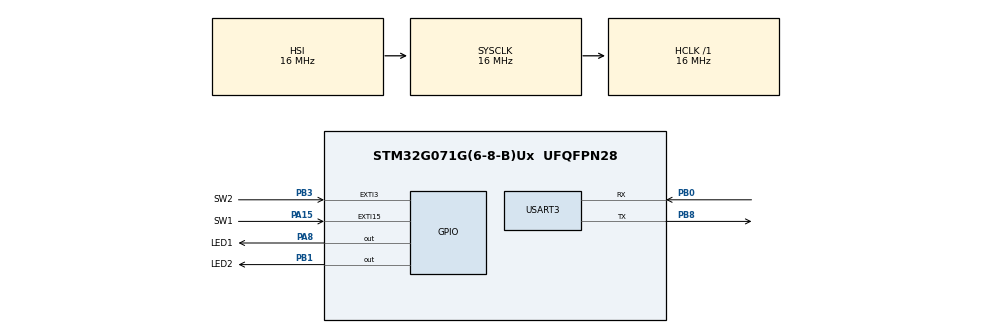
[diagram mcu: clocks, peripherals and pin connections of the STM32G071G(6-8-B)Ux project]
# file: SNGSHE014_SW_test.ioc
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Mcu.Family=STM32G0
Mcu.Name=STM32G071G(6-8-B)Ux
Mcu.Package=UFQFPN28
NVIC.EXTI2_3_IRQn=true\:1\:0\:true\:false\:true\:true\:true
NVIC.EXTI4_15_IRQn=true\:1\:0\:true\:false\:true\:true\:true
NVIC.TIM14_IRQn=true\:0\:0\:false\:false\:true\:true\:true
PA13.Mode=Serial_Wire
PA13.Signal=SYS_SWDIO
PA14-BOOT0.Mode=Serial_Wire
PA14-BOOT0.Signal=SYS_SWCLK
PA15.GPIO_Label=SW1
PA15.GPIO_ModeDefaultEXTI=GPIO_MODE_IT_RISING_FALLING
PA15.GPIO_PuPd=GPIO_PULLUP
PA15.Signal=GPXTI15
PA4.Mode=SYS_WakeUp1
PA4.Signal=SYS_WKUP2
PA8.GPIO_Label=LED1
PA8.GPIO_PuPd=GPIO_PULLUP
PA8.PinState=GPIO_PIN_RESET
PA8.Signal=GPIO_Output
PB0.Mode=Asynchronous
PB0.Signal=USART3_RX
PB1.GPIO_Label=LED2
PB1.GPIO_PuPd=GPIO_PULLUP
PB1.Signal=GPIO_Output
PB3.GPIO_Label=SW2
PB3.GPIO_ModeDefaultEXTI=GPIO_MODE_IT_RISING_FALLING
PB3.GPIO_PuPd=GPIO_PULLUP
PB3.Signal=GPXTI3
PB8.Mode=Asynchronous
PB8.Signal=USART3_TX
PC14-OSC32_IN\ (PC14).Mode=LSE-External-Oscillator
PC14-OSC32_IN\ (PC14).Signal=RCC_OSC32_IN
PC15-OSC32_OUT\ (PC15).Mode=LSE-External-Oscillator
PC15-OSC32_OUT\ (PC15).Signal=RCC_OSC32_OUT
ProjectManager.HeapSize=0x200
ProjectManager.StackSize=0x400
ProjectManager.TargetToolchain=STM32CubeIDE
RCC.AHBFreq_Value=16000000
RCC.CortexFreq_Value=16000000
RCC.EXTERNAL_CLOCK_VALUE=48000
RCC.HCLKFreq_Value=16000000
RCC.HSE_VALUE=8000000
RCC.HSI_VALUE=16000000
RCC.SYSCLKFreq_VALUE=16000000
RCC.VCOOutputFreq_Value=128000000
TIM14.Period=65535-1
TIM14.Prescaler=16000-1
USART3.VirtualMode-Asynchronous=VM_ASYNC
VP_SYS_VS_DBSignals.Mode=DisableDeadBatterySignals
VP_TIM14_VS_ClockSourceINT.Mode=Enable_Timer
board=custom

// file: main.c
/* USER CODE BEGIN Header */
/**
  ******************************************************************************
  * @file           : main.c
  * @brief          : Main program body
  ******************************************************************************
  * @attention
  *
  * <h2><center>&copy; Copyright (c) 2020 STMicroelectronics.
  * All rights reserved.</center></h2>
  *
  * This software component is licensed by ST under BSD 3-Clause license,
  * the "License"; You may not use this file except in compliance with the
  * License. You may obtain a copy of the License at:
  *                        opensource.org/licenses/BSD-3-Clause
  *
  ******************************************************************************
  */
/* USER CODE END Header */
#include "main.h"

/* USER CODE BEGIN Includes */
#include <stdio.h>
#include <string.h>
/* USER CODE END Includes */

TIM_HandleTypeDef htim14;

UART_HandleTypeDef huart3;

void SystemClock_Config(void);
static void MX_GPIO_Init(void);
static void MX_TIM14_Init(void);
static void MX_USART3_UART_Init(void);

int main(void)
{
  /* USER CODE BEGIN 1 */
	int time_en;							//timer enable check
	int sensor_en;							//sensor enable check
	int sw1_pin_cnt;							//pin count sw1
	int sw2_pin_cnt;							//pin count sw2
	uint8_t buf[20];
	char uart_buf[50];						//uart buffer
	int uart_buf_len;
	uint16_t timer_val;						//timer variable

  /* USER CODE END 1 */

  /* MCU Configuration--------------------------------------------------------*/

  /* Reset of all peripherals, Initializes the Flash interface and the Systick. */
  HAL_Init();

  /* Configure the system clock */
  SystemClock_Config();

  /* Initialize all configured peripherals */
  MX_GPIO_Init();
  MX_TIM14_Init();
  MX_USART3_UART_Init();
  /* USER CODE BEGIN 2 */
  //Timer start when button pressed
  void TimerStart(void)
  {
  	time_en = 1;
  	HAL_TIM_Base_Start(&htim14);						//start timer
  	timer_val = __HAL_TIM_GET_COUNTER(&htim14);			//init Timer compare value
  }

  //Blink LED1 if test works
  void LED1blink(void)
  {
  	HAL_GPIO_WritePin(GPIOA, GPIO_PIN_8, GPIO_PIN_SET);			//LED1 ON
  	HAL_Delay(1000);											//1s delay
  	HAL_GPIO_WritePin(GPIOA, GPIO_PIN_8, GPIO_PIN_RESET);		//LED1 OFF
  	HAL_TIM_Base_Stop(&htim14);									//Stop timer
  	time_en = 0;
  }
  void LED2blink(void)
{
	HAL_GPIO_WritePin(GPIOB, GPIO_PIN_1, GPIO_PIN_SET);			//LED2 ON
	HAL_Delay(1000);											//1s delay
	HAL_GPIO_WritePin(GPIOB, GPIO_PIN_1, GPIO_PIN_RESET);		//LED2 OFF
}
  //sleep function
  void gotoSleep(void)
  {
  	//enable the PWR clock control (177 ref)
  	RCC->APBENR1 |= (RCC_APBENR1_PWREN);

  	//Setting SLEEPDEEP (88,93 PM)
  	SCB->SCR |= SCB_SCR_SLEEPDEEP_Msk;

  	//Low power mode selection (123 ,126 ref)
  	PWR->CR1 |= PWR_CR1_LPMS;			//Is this correct?

  	//Clear WUFx bits (131 ref)
  	PWR->SR1 |= 0x00000000;				//Am I doing this right?

  	//Enable WKUPx reg (129 ref)
  	PWR->CR3 |= 0X0000003B;				//Set bit [5:3]&[1:0]

  	//WFI enable
  	__WFI();
  }
  /* USER CODE END 2 */

  /* Infinite loop */
  /* USER CODE BEGIN WHILE */
//  if(((HAL_GPIO_ReadPin(GPIOA, GPIO_PIN_15))&(HAL_GPIO_ReadPin(GPIOB, GPIO_PIN_3))) == GPIO_PIN_RESET)
//  {
//	  uart_buf_len = sprintf(uart_buf, "Awake.\r\n");
//	  HAL_UART_Transmit(&huart3, (uint8_t *)uart_buf, uart_buf_len, 10000);		//UART write
//	  TimerStart();													//Start Timer
//	  sw1_pin_cnt = 0;
//	  sw2_pin_cnt = 0;
//	  sensor_en = 0;
//	  HAL_Delay(1000);
//
//	  LED1blink();;
//	  //Sleep
//	  strcpy((char*)buf, "Sleep.\r\n");
//	  HAL_UART_Transmit(&huart3, buf, strlen((char*)buf), HAL_MAX_DELAY);
//	  HAL_Delay(1000);
//
//	  gotoSleep();
//
//	  strcpy((char*)buf, "Fail.\r\n");
//	  HAL_UART_Transmit(&huart3, buf, strlen((char*)buf), HAL_MAX_DELAY);
//	  HAL_Delay(1000);
//  }

  if((PWR->SCR)&(PWR_SCR_CSBF))			//Check if standby flag is enabled
  {
	  //clear PWR WUF
	  PWR->SR1 |= 0X0000003B;				//Set bit [5:3]&[1:0]
	  //Set standby flag
	  PWR->SCR |= PWR_SCR_CSBF;
  }
  else
  {
	uart_buf_len = sprintf(uart_buf, "Device Ready.\r\n");
	HAL_UART_Transmit(&huart3, (uint8_t *)uart_buf, uart_buf_len, 1000);
  }

  while (1)
  {
	  //*________________________________________DEVICE WAKE UP_________________________________________________________
	  	  if(((HAL_GPIO_ReadPin(GPIOA, GPIO_PIN_15))&(HAL_GPIO_ReadPin(GPIOB, GPIO_PIN_3))) == GPIO_PIN_RESET)
	  		{
	  		  uart_buf_len = sprintf(uart_buf, "Awake.\r\n");
	  		  HAL_UART_Transmit(&huart3, (uint8_t *)uart_buf, uart_buf_len, 10000);		//UART write
	  		  LED2blink();
	  		  TimerStart();													//Start Timer
	  		  sw1_pin_cnt = 0;
	  		  sw2_pin_cnt = 0;
	  		  sensor_en = 0;
	  		  HAL_Delay(1000);

	  		  while ((time_en == 1)&(__HAL_TIM_GET_COUNTER(&htim14) - timer_val <= 10000))
	  		  {
	  			  if((sw1_pin_cnt==0)&(HAL_GPIO_ReadPin(GPIOA, GPIO_PIN_15) == GPIO_PIN_RESET))	//SENSOR MODE**************************************
	  				{
	  				  sw1_pin_cnt++;
	  				  HAL_TIM_Base_Stop(&htim14);						//Stop timer
	  				  LED2blink();
	  				  uart_buf_len = sprintf(uart_buf, "1. SENSOR MODE.\r\n");
	  				  HAL_UART_Transmit(&huart3, (uint8_t *)uart_buf, uart_buf_len, 10000);		//UART write
	  				  TimerStart();										//Start Timer
	  				  HAL_Delay(1000);
	  				}
	  //*________________________________________1. SENSOR MODE_________________________________________________________
	  			  while ((sw1_pin_cnt==1)&(time_en == 1)&(__HAL_TIM_GET_COUNTER(&htim14) - timer_val <= 10000))			//Under 10sec
	  			  {
	  				  if(HAL_GPIO_ReadPin(GPIOA, GPIO_PIN_15) == GPIO_PIN_RESET)
	  				  {
		  				  LED2blink();
	  					  sw1_pin_cnt ++;
	  					  HAL_Delay(1000);
	  					  break;
	  				  }

	  				  // i. Probably toggle between START and STOP and leave out the PAUSE function. (Reduce code and CPU space)

	  				  if((sensor_en==0)&(HAL_GPIO_ReadPin(GPIOB, GPIO_PIN_3) == GPIO_PIN_RESET))	//SENSOR MODE
	  					{
		  				  LED2blink();
	  					  HAL_TIM_Base_Stop(&htim14);						//Stop timer
	  					  uart_buf_len = sprintf(uart_buf, "	(i)START.\r\n");
	  					  HAL_UART_Transmit(&huart3, (uint8_t *)uart_buf, uart_buf_len, 10000);		//UART write
	  					  TimerStart();
	  					  sensor_en = 1;
	  					  //break;
	  					  HAL_Delay(1000);
	  					}
	  				  if((sensor_en==1)&(HAL_GPIO_ReadPin(GPIOB, GPIO_PIN_3) == GPIO_PIN_RESET))
	  				  {
		  				  LED2blink();
	  					  HAL_TIM_Base_Stop(&htim14);						//Stop timer
	  					  uart_buf_len = sprintf(uart_buf, "	(ii)STOP.\r\n");
	  					  HAL_UART_Transmit(&huart3, (uint8_t *)uart_buf, uart_buf_len, 10000);		//UART write
	  					  TimerStart();
	  					  sensor_en = 0;
	  					 //break;
	  					  HAL_Delay(1000);
	  				  }
	  			  }
	  //*________________________________________2. DISPLAY MODE_________________________________________________________

	  			  if((sw1_pin_cnt==2))	//&(HAL_GPIO_ReadPin(GPIOA, GPIO_PIN_15) == GPIO_PIN_RESET))	//DISPLAY MODE**************************************
	  			  {
	  				  LED2blink();
	  //				  sw1_pin_cnt ++;
	  				  sw2_pin_cnt = 0;
	  				  HAL_TIM_Base_Stop(&htim14);						//Stop timer
	  				  uart_buf_len = sprintf(uart_buf, "2. DISPLAY MODE.\r\n");
	  				  HAL_UART_Transmit(&huart3, (uint8_t *)uart_buf, uart_buf_len, 10000);		//UART write
	  				  TimerStart();										//Start Timer
	  				  HAL_Delay(1000);
	  			  }
	  			  while ((sw1_pin_cnt==2)&(time_en == 1)&(__HAL_TIM_GET_COUNTER(&htim14) - timer_val <= 10000))			//Under 10sec
	  			  {
	  				  if(HAL_GPIO_ReadPin(GPIOA, GPIO_PIN_15) == GPIO_PIN_RESET)
	  				  {
		  				  LED2blink();
	  					  sw1_pin_cnt ++;
	  					  HAL_Delay(1000);
	  					  break;
	  				  }
	  				  if(HAL_GPIO_ReadPin(GPIOB, GPIO_PIN_3) == GPIO_PIN_RESET)	//SENSOR MODE
	  				  {
		  				  LED2blink();
	  					  HAL_TIM_Base_Stop(&htim14);						//Stop timer
	  					  uart_buf_len = sprintf(uart_buf, "	Enter.\r\n");
	  					  HAL_UART_Transmit(&huart3, (uint8_t *)uart_buf, uart_buf_len, 10000);		//UART write
	  					  TimerStart();
	  					  //break;
	  					  HAL_Delay(1000);
	  				  }
	  			  }

	  //*________________________________________3. RESET MODE_________________________________________________________
	  			  if((sw1_pin_cnt==3))		//&(HAL_GPIO_ReadPin(GPIOA, GPIO_PIN_15) == GPIO_PIN_RESET))	//DISPLAY MODE**************************************
	  			  {
	  				  LED2blink();
	  				 // sw1_pin_cnt ++;
	  				  sw2_pin_cnt = 0;
	  				  HAL_TIM_Base_Stop(&htim14);						//Stop timer
	  				  uart_buf_len = sprintf(uart_buf, "3. RESET MODE.\r\n");
	  				  HAL_UART_Transmit(&huart3, (uint8_t *)uart_buf, uart_buf_len, 10000);		//UART write
	  				  TimerStart();										//Start Timer
	  				  HAL_Delay(1000);
	  			  }
	  			  while ((sw1_pin_cnt==3)&(time_en == 1)&(__HAL_TIM_GET_COUNTER(&htim14) - timer_val <= 10000))			//Under 10sec
	  			  {
	  				  if(HAL_GPIO_ReadPin(GPIOA, GPIO_PIN_15) == GPIO_PIN_RESET)
	  				  {
		  				  LED2blink();
	  					  sw1_pin_cnt = 1;
	  					  HAL_Delay(1000);
	  					  uart_buf_len = sprintf(uart_buf, "1. SENSOR MODE.\r\n");
	  					  HAL_UART_Transmit(&huart3, (uint8_t *)uart_buf, uart_buf_len, 10000);		//UART write
	  					  break;
	  				  }
	  				  //reset everything when SW2 pressed twice.
	  				  if(HAL_GPIO_ReadPin(GPIOB, GPIO_PIN_3) == GPIO_PIN_RESET)	//SENSOR MODE
	  				  {
		  				  LED2blink();
	  					  HAL_TIM_Base_Stop(&htim14);						//Stop timer
	  					  uart_buf_len = sprintf(uart_buf, "	Enter.\r\n");
	  					  HAL_UART_Transmit(&huart3, (uint8_t *)uart_buf, uart_buf_len, 10000);		//UART write
	  					  TimerStart();
	  					  //break;
	  					  HAL_Delay(1000);
	  				  }
	  			  }
	  //____________________________________________________________________________________________________________________

	  		  }
	  		  LED1blink();;
	  		  //Sleep
	  		  strcpy((char*)buf, "Sleep.\r\n");
	  		  HAL_UART_Transmit(&huart3, buf, strlen((char*)buf), HAL_MAX_DELAY);
	  		  HAL_Delay(1000);

	  		  gotoSleep();

	  		  strcpy((char*)buf, "Failed.\r\n");
	  		  HAL_UART_Transmit(&huart3, buf, strlen((char*)buf), HAL_MAX_DELAY);
	  		  HAL_Delay(1000);
	  		}
    /* USER CODE END WHILE */

  }
}

void SystemClock_Config(void)
{
  RCC_OscInitTypeDef RCC_OscInitStruct = {0};
  RCC_ClkInitTypeDef RCC_ClkInitStruct = {0};

  /** Configure the main internal regulator output voltage
  */
  HAL_PWREx_ControlVoltageScaling(PWR_REGULATOR_VOLTAGE_SCALE1);
  /** Initializes the RCC Oscillators according to the specified parameters
  * in the RCC_OscInitTypeDef structure.
  */
  RCC_OscInitStruct.OscillatorType = RCC_OSCILLATORTYPE_HSI;
  RCC_OscInitStruct.HSIState = RCC_HSI_ON;
  RCC_OscInitStruct.HSIDiv = RCC_HSI_DIV1;
  RCC_OscInitStruct.HSICalibrationValue = RCC_HSICALIBRATION_DEFAULT;
  RCC_OscInitStruct.PLL.PLLState = RCC_PLL_NONE;
  if (HAL_RCC_OscConfig(&RCC_OscInitStruct) != HAL_OK)
  {
    Error_Handler();
  }
  /** Initializes the CPU, AHB and APB buses clocks
  */
  RCC_ClkInitStruct.ClockType = RCC_CLOCKTYPE_HCLK|RCC_CLOCKTYPE_SYSCLK
                              |RCC_CLOCKTYPE_PCLK1;
  RCC_ClkInitStruct.SYSCLKSource = RCC_SYSCLKSOURCE_HSI;
  RCC_ClkInitStruct.AHBCLKDivider = RCC_SYSCLK_DIV1;
  RCC_ClkInitStruct.APB1CLKDivider = RCC_HCLK_DIV1;

  if (HAL_RCC_ClockConfig(&RCC_ClkInitStruct, FLASH_LATENCY_0) != HAL_OK)
  {
    Error_Handler();
  }
}

static void MX_TIM14_Init(void)
{

  htim14.Instance = TIM14;
  htim14.Init.Prescaler = 16000-1;
  htim14.Init.CounterMode = TIM_COUNTERMODE_UP;
  htim14.Init.Period = 65535-1;
  htim14.Init.ClockDivision = TIM_CLOCKDIVISION_DIV1;
  htim14.Init.AutoReloadPreload = TIM_AUTORELOAD_PRELOAD_DISABLE;
  if (HAL_TIM_Base_Init(&htim14) != HAL_OK)
  {
    Error_Handler();
  }

}

static void MX_USART3_UART_Init(void)
{

  huart3.Instance = USART3;
  huart3.Init.BaudRate = 115200;
  huart3.Init.WordLength = UART_WORDLENGTH_8B;
  huart3.Init.StopBits = UART_STOPBITS_1;
  huart3.Init.Parity = UART_PARITY_NONE;
  huart3.Init.Mode = UART_MODE_TX_RX;
  huart3.Init.HwFlowCtl = UART_HWCONTROL_NONE;
  huart3.Init.OverSampling = UART_OVERSAMPLING_16;
  huart3.Init.OneBitSampling = UART_ONE_BIT_SAMPLE_DISABLE;
  huart3.Init.ClockPrescaler = UART_PRESCALER_DIV1;
  huart3.AdvancedInit.AdvFeatureInit = UART_ADVFEATURE_NO_INIT;
  if (HAL_UART_Init(&huart3) != HAL_OK)
  {
    Error_Handler();
  }

}

static void MX_GPIO_Init(void)
{
  GPIO_InitTypeDef GPIO_InitStruct = {0};

  /* GPIO Ports Clock Enable */
  __HAL_RCC_GPIOC_CLK_ENABLE();
  __HAL_RCC_GPIOA_CLK_ENABLE();
  __HAL_RCC_GPIOB_CLK_ENABLE();

  /*Configure GPIO pin Output Level */
  HAL_GPIO_WritePin(LED2_GPIO_Port, LED2_Pin, GPIO_PIN_RESET);

  /*Configure GPIO pin Output Level */
  HAL_GPIO_WritePin(LED1_GPIO_Port, LED1_Pin, GPIO_PIN_RESET);

  /*Configure GPIO pin : LED2_Pin */
  GPIO_InitStruct.Pin = LED2_Pin;
  GPIO_InitStruct.Mode = GPIO_MODE_OUTPUT_PP;
  GPIO_InitStruct.Pull = GPIO_PULLUP;
  GPIO_InitStruct.Speed = GPIO_SPEED_FREQ_LOW;
  HAL_GPIO_Init(LED2_GPIO_Port, &GPIO_InitStruct);

  /*Configure GPIO pin : LED1_Pin */
  GPIO_InitStruct.Pin = LED1_Pin;
  GPIO_InitStruct.Mode = GPIO_MODE_OUTPUT_PP;
  GPIO_InitStruct.Pull = GPIO_PULLUP;
  GPIO_InitStruct.Speed = GPIO_SPEED_FREQ_LOW;
  HAL_GPIO_Init(LED1_GPIO_Port, &GPIO_InitStruct);

  /*Configure GPIO pin : SW1_Pin */
  GPIO_InitStruct.Pin = SW1_Pin;
  GPIO_InitStruct.Mode = GPIO_MODE_IT_RISING_FALLING;
  GPIO_InitStruct.Pull = GPIO_PULLUP;
  HAL_GPIO_Init(SW1_GPIO_Port, &GPIO_InitStruct);

  /*Configure GPIO pin : SW2_Pin */
  GPIO_InitStruct.Pin = SW2_Pin;
  GPIO_InitStruct.Mode = GPIO_MODE_IT_RISING_FALLING;
  GPIO_InitStruct.Pull = GPIO_PULLUP;
  HAL_GPIO_Init(SW2_GPIO_Port, &GPIO_InitStruct);

  /* EXTI interrupt init*/
  HAL_NVIC_SetPriority(EXTI2_3_IRQn, 1, 0);
  HAL_NVIC_EnableIRQ(EXTI2_3_IRQn);

  HAL_NVIC_SetPriority(EXTI4_15_IRQn, 1, 0);
  HAL_NVIC_EnableIRQ(EXTI4_15_IRQn);

}

void Error_Handler(void)
{
}

/************************ (C) COPYRIGHT STMicroelectronics *****END OF FILE****/
